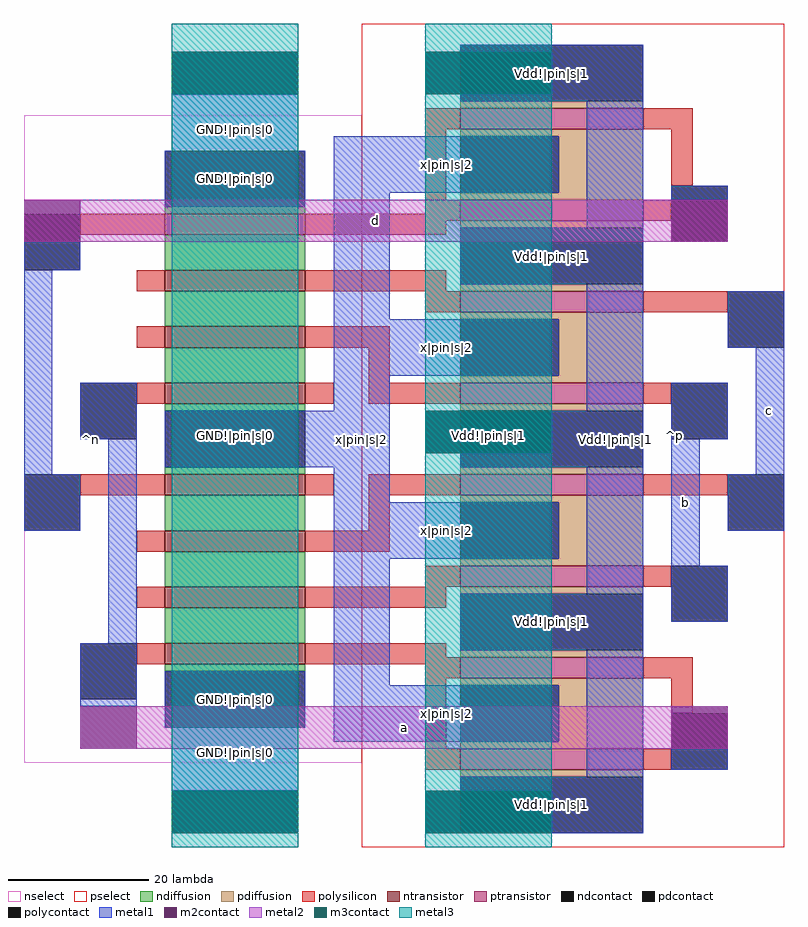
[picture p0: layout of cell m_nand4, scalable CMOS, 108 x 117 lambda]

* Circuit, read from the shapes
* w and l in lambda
.subckt m_nand4 GND!|pin|s|0 Vdd!|pin|s|1 a b c d x|pin|s|2
M1 n1 a GND!|pin|s|0 VSUBS nfet w=20 l=3
M2 n2 b n1 VSUBS nfet w=20 l=3
M3 n3 c n2 VSUBS nfet w=20 l=3
M4 x|pin|s|2 d n3 VSUBS nfet w=20 l=3
M5 n4 a x|pin|s|2 VSUBS nfet w=20 l=3
M6 n5 b n4 VSUBS nfet w=20 l=3
M7 n6 c n5 VSUBS nfet w=20 l=3
M8 GND!|pin|s|0 d n6 VSUBS nfet w=20 l=3
M9 x|pin|s|2 a Vdd!|pin|s|1 NWELL pfet w=26 l=3 m=2
M10 x|pin|s|2 b Vdd!|pin|s|1 NWELL pfet w=26 l=3 m=2
M11 Vdd!|pin|s|1 c x|pin|s|2 NWELL pfet w=26 l=3 m=2
M12 x|pin|s|2 d Vdd!|pin|s|1 NWELL pfet w=26 l=3 m=2
.ends

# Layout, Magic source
magic
tech scmos
<< nselect >>
rect -48 -784 0 -692
<< pselect >>
rect 0 -796 60 -679
<< ndiffusion >>
rect -28 -706 -8 -705
rect -28 -714 -8 -709
rect -28 -722 -8 -717
rect -28 -730 -8 -725
rect -28 -734 -8 -733
rect -28 -743 -8 -742
rect -28 -751 -8 -746
rect -28 -759 -8 -754
rect -28 -767 -8 -762
rect -28 -771 -8 -770
<< pdiffusion >>
rect 14 -691 40 -690
rect 14 -695 40 -694
rect 28 -703 40 -695
rect 14 -704 40 -703
rect 14 -708 40 -707
rect 14 -717 40 -716
rect 14 -721 40 -720
rect 28 -729 40 -721
rect 14 -730 40 -729
rect 14 -734 40 -733
rect 14 -743 40 -742
rect 14 -747 40 -746
rect 28 -755 40 -747
rect 14 -756 40 -755
rect 14 -760 40 -759
rect 14 -769 40 -768
rect 14 -773 40 -772
rect 28 -781 40 -773
rect 14 -782 40 -781
rect 14 -786 40 -785
<< ntransistor >>
rect -28 -709 -8 -706
rect -28 -717 -8 -714
rect -28 -725 -8 -722
rect -28 -733 -8 -730
rect -28 -746 -8 -743
rect -28 -754 -8 -751
rect -28 -762 -8 -759
rect -28 -770 -8 -767
<< ptransistor >>
rect 14 -694 40 -691
rect 14 -707 40 -704
rect 14 -720 40 -717
rect 14 -733 40 -730
rect 14 -746 40 -743
rect 14 -759 40 -756
rect 14 -772 40 -769
rect 14 -785 40 -782
<< polysilicon >>
rect 9 -694 14 -691
rect 40 -694 47 -691
rect 9 -704 12 -694
rect 44 -702 47 -694
rect 9 -706 14 -704
rect -40 -709 -28 -706
rect -8 -707 14 -706
rect 40 -707 44 -704
rect -8 -709 12 -707
rect -32 -717 -28 -714
rect -8 -717 12 -714
rect 9 -720 14 -717
rect 40 -720 52 -717
rect -32 -725 -28 -722
rect -8 -725 4 -722
rect 1 -730 4 -725
rect -32 -733 -28 -730
rect -8 -733 -4 -730
rect 1 -733 14 -730
rect 40 -733 44 -730
rect -40 -746 -28 -743
rect -8 -746 -4 -743
rect 1 -746 14 -743
rect 40 -746 52 -743
rect 1 -751 4 -746
rect -32 -754 -28 -751
rect -8 -754 4 -751
rect 9 -759 14 -756
rect 40 -759 44 -756
rect -32 -762 -28 -759
rect -8 -762 12 -759
rect -32 -770 -28 -767
rect -8 -769 12 -767
rect -8 -770 14 -769
rect 9 -772 14 -770
rect 40 -772 47 -769
rect 9 -782 12 -772
rect 44 -777 47 -772
rect 9 -785 14 -782
rect 40 -785 44 -782
<< ndcontact >>
rect -28 -705 -8 -697
rect -28 -742 -8 -734
rect -28 -779 -8 -771
<< pdcontact >>
rect 14 -690 40 -682
rect 14 -703 28 -695
rect 14 -716 40 -708
rect 14 -729 28 -721
rect 14 -742 40 -734
rect 14 -755 28 -747
rect 14 -768 40 -760
rect 14 -781 28 -773
rect 14 -794 40 -786
<< polycontact >>
rect -48 -714 -40 -706
rect 44 -710 52 -702
rect 52 -725 60 -717
rect -40 -738 -32 -730
rect 44 -738 52 -730
rect -48 -751 -40 -743
rect 52 -751 60 -743
rect -40 -775 -32 -767
rect 44 -764 52 -756
rect 44 -785 52 -777
<< metal1 >>
rect 14 -683 40 -682
rect 27 -689 40 -683
rect -27 -697 -9 -689
rect 14 -690 40 -689
rect -28 -705 -8 -697
rect -4 -703 28 -695
rect -48 -714 -40 -710
rect -48 -743 -44 -714
rect -4 -721 4 -703
rect 32 -708 40 -690
rect 14 -716 40 -708
rect 44 -704 52 -702
rect -4 -729 28 -721
rect -40 -738 -32 -730
rect -4 -734 4 -729
rect 32 -734 40 -716
rect 52 -725 60 -717
rect -48 -751 -40 -743
rect -36 -767 -32 -738
rect -28 -742 4 -734
rect 27 -740 40 -734
rect 14 -742 40 -740
rect -40 -776 -32 -767
rect -4 -747 4 -742
rect -4 -755 28 -747
rect -28 -779 -8 -771
rect -4 -773 4 -755
rect 32 -760 40 -742
rect 14 -768 40 -760
rect 44 -738 52 -730
rect 44 -756 48 -738
rect 56 -743 60 -725
rect 52 -751 60 -743
rect 44 -764 52 -756
rect -27 -788 -9 -779
rect -4 -781 28 -773
rect 32 -786 40 -768
rect 44 -785 52 -782
rect 14 -788 40 -786
rect 27 -794 40 -788
<< m2contact >>
rect -27 -689 -9 -683
rect 9 -689 27 -683
rect -48 -710 -40 -704
rect 44 -710 52 -704
rect 9 -740 27 -734
rect -40 -782 -32 -776
rect 44 -782 52 -776
rect -27 -794 -9 -788
rect 9 -794 27 -788
<< metal2 >>
rect -48 -710 52 -704
rect -40 -782 52 -776
<< m3contact >>
rect -27 -689 -9 -683
rect 9 -689 27 -683
rect 9 -740 27 -734
rect -27 -794 -9 -788
rect 9 -794 27 -788
<< metal3 >>
rect -27 -796 -9 -679
rect 9 -796 27 -679
<< labels >>
rlabel metal1 56 -751 60 -717 7 c
rlabel metal1 44 -764 48 -730 1 b
rlabel space -49 -788 -28 -688 7 ^n
rlabel metal2 -40 -782 52 -776 1 a
rlabel metal2 -48 -710 52 -704 1 d
rlabel space 28 -796 61 -679 3 ^p
rlabel metal3 -27 -796 -9 -679 1 GND!|pin|s|0
rlabel metal1 -28 -705 -8 -697 1 GND!|pin|s|0
rlabel metal1 -27 -705 -9 -683 1 GND!|pin|s|0
rlabel metal1 -27 -794 -9 -771 1 GND!|pin|s|0
rlabel metal1 -28 -779 -8 -771 1 GND!|pin|s|0
rlabel metal3 9 -796 27 -679 1 Vdd!|pin|s|1
rlabel metal1 14 -690 40 -682 1 Vdd!|pin|s|1
rlabel metal1 14 -716 40 -708 1 Vdd!|pin|s|1
rlabel metal1 14 -742 40 -734 1 Vdd!|pin|s|1
rlabel metal1 14 -768 40 -760 1 Vdd!|pin|s|1
rlabel metal1 14 -794 40 -786 1 Vdd!|pin|s|1
rlabel metal1 32 -794 40 -682 1 Vdd!|pin|s|1
rlabel metal1 -4 -781 4 -695 1 x|pin|s|2
rlabel metal1 -4 -703 28 -695 1 x|pin|s|2
rlabel metal1 -4 -729 28 -721 1 x|pin|s|2
rlabel metal1 -4 -755 28 -747 1 x|pin|s|2
rlabel metal1 -4 -781 28 -773 1 x|pin|s|2
rlabel metal1 -28 -742 4 -734 1 x|pin|s|2
<< end >>
